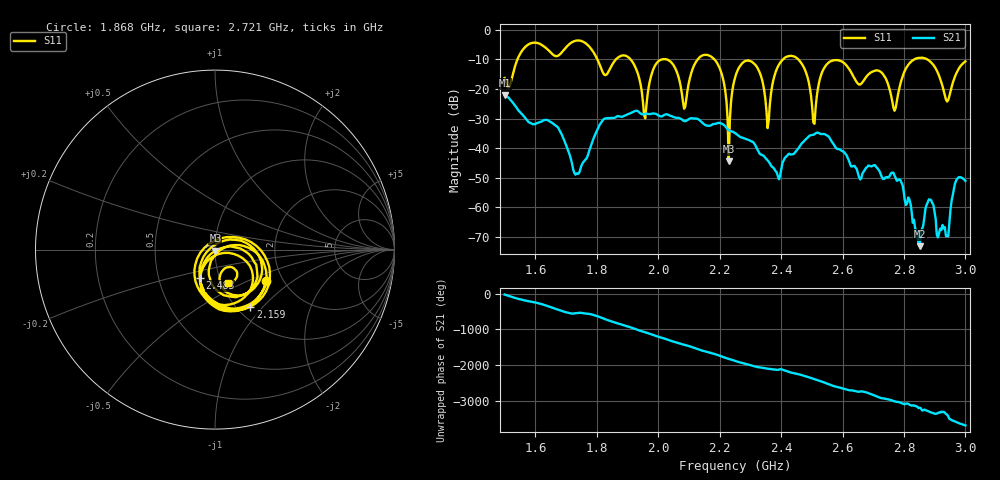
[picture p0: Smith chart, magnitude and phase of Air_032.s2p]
# HZ S RI R 50
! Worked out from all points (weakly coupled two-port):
!   404 points, 1.5 GHz to 3 GHz, reference 50 ohm
!   highest |S21| = -22.21 dB at 1.5 GHz (marker M1); lowest = -73.1 dB at 2.851 GHz (marker M2)
!   lowest |S11| = -44.4 dB at 2.23 GHz (marker M3), VSWR 1.01, Z = 50.3 - j0.55 ohm
!   |S11| at or under -10 dB: 2.182 GHz to 2.407 GHz (224.2 MHz wide, 9.77 % of centre); 2.456 GHz to 2.834 GHz (378.8 MHz wide, 14.3 % of centre); 2.875 GHz to end of sweep (the widest 3 of 7)
!   S12 and S22 are empty: the file has one direction only
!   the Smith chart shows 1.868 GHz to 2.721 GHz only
!   S11 on the Smith chart (normalised r, x): 1.868 GHz: 1.64, -0.65; 2.159 GHz: 1.15, -0.85; 2.483 GHz: 0.80, -0.26; 2.721 GHz: 1.07, -0.42
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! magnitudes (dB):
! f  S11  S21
! 1.5 GHz  -16.3  -22.2
! 1.753 GHz  -4.0  -45.2
! 1.868 GHz  -9.5  -29.2
! 1.958 GHz  -29.9  -28.4
! 2.002 GHz  -10.5  -29.1
! 2.084 GHz  -26.7  -30.8
! 2.159 GHz  -8.5  -32.4
! 2.203 GHz  -13.9  -31.6
! 2.23 GHz  -44.4  -34.0
! 2.252 GHz  -15.6  -35.0
! 2.315 GHz  -11.8  -38.9
! 2.356 GHz  -33.2  -44.1
! 2.39 GHz  -12.5  -49.5
! 2.483 GHz  -14.9  -36.8
! 2.501 GHz  -26.1  -35.5
! 2.561 GHz  -10.7  -37.1
! 2.721 GHz  -14.0  -47.8
! 2.751 GHz  -19.2  -49.7
! 2.851 GHz  -9.5  -73.1
! 2.885 GHz  -10.7  -57.3
! 2.94 GHz  -24.3  -69.7
! 3 GHz  -10.7  -51.0
